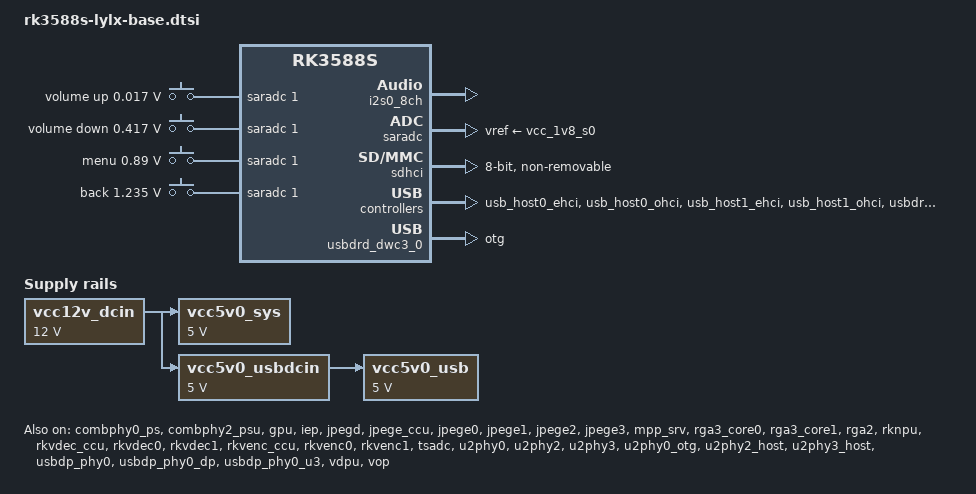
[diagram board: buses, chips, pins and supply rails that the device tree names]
// SPDX-License-Identifier: (GPL-2.0+ OR MIT)
/*
 * Copyright (c) 2021 Rockchip Electronics Co., Ltd.
 *
 */

#include <dt-bindings/gpio/gpio.h>
#include <dt-bindings/pwm/pwm.h>
#include <dt-bindings/pinctrl/rockchip.h>
#include <dt-bindings/input/rk-input.h>
#include <dt-bindings/display/drm_mipi_dsi.h>
#include <dt-bindings/display/rockchip_vop.h>
#include <dt-bindings/sensor-dev.h>

/ {
	adc_keys: adc-keys {
		compatible = "adc-keys";
		io-channels = <&saradc 1>;
		io-channel-names = "buttons";
		keyup-threshold-microvolt = <1800000>;
		poll-interval = <100>;

		vol-up-key {
			label = "volume up";
			linux,code = <KEY_VOLUMEUP>;
			press-threshold-microvolt = <17000>;
		};

		vol-down-key {
			label = "volume down";
			linux,code = <KEY_VOLUMEDOWN>;
			press-threshold-microvolt = <417000>;
		};

		menu-key {
			label = "menu";
			linux,code = <KEY_MENU>;
			press-threshold-microvolt = <890000>;
		};

		back-key {
			label = "back";
			linux,code = <KEY_BACK>;
			press-threshold-microvolt = <1235000>;
		};
	};
	
	hdmi0_sound: hdmi0-sound {
		status = "disabled";
		compatible = "simple-audio-card";
		simple-audio-card,format = "i2s";
		simple-audio-card,mclk-fs = <128>;
		simple-audio-card,name = "rockchip,hdmi0";

		simple-audio-card,cpu {
			sound-dai = <&i2s5_8ch>;
		};
		simple-audio-card,codec {
			sound-dai = <&hdmi0>;
		};
	};

	spdif_tx1_dc: spdif-tx1-dc {
		status = "disabled";
		compatible = "linux,spdif-dit";
		#sound-dai-cells = <0>;
	};

	spdif_tx1_sound: spdif-tx1-sound {
		status = "disabled";
		compatible = "simple-audio-card";
		simple-audio-card,name = "rockchip,spdif-tx1";
		simple-audio-card,cpu {
			sound-dai = <&spdif_tx1>;
		};
		simple-audio-card,codec {
			sound-dai = <&spdif_tx1_dc>;
		};
	};

	test-power {
		status = "okay";
	};

	vcc12v_dcin: vcc12v-dcin {
		compatible = "regulator-fixed";
		regulator-name = "vcc12v_dcin";
		regulator-always-on;
		regulator-boot-on;
		regulator-min-microvolt = <12000000>;
		regulator-max-microvolt = <12000000>;
	};

	vcc5v0_sys: vcc5v0-sys {
		compatible = "regulator-fixed";
		regulator-name = "vcc5v0_sys";
		regulator-always-on;
		regulator-boot-on;
		regulator-min-microvolt = <5000000>;
		regulator-max-microvolt = <5000000>;
		vin-supply = <&vcc12v_dcin>;
	};

	vcc5v0_usbdcin: vcc5v0-usbdcin {
		compatible = "regulator-fixed";
		regulator-name = "vcc5v0_usbdcin";
		regulator-always-on;
		regulator-boot-on;
		regulator-min-microvolt = <5000000>;
		regulator-max-microvolt = <5000000>;
		vin-supply = <&vcc12v_dcin>;
	};

	vcc5v0_usb: vcc5v0-usb {
		compatible = "regulator-fixed";
		regulator-name = "vcc5v0_usb";
		regulator-always-on;
		regulator-boot-on;
		regulator-min-microvolt = <5000000>;
		regulator-max-microvolt = <5000000>;
		vin-supply = <&vcc5v0_usbdcin>;
	};

	wireless_bluetooth: wireless-bluetooth {
                compatible = "bluetooth-platdata";
                clocks = <&hym8563>;
                clock-names = "ext_clock";
                //uart_rts_gpios = <&gpio3 RK_PA4 GPIO_ACTIVE_LOW>;
                //pinctrl-names = "default", "rts_gpio";
                //pinctrl-0 = <&uart8m1_rtsn>, <&bt_reset_gpio>, <&bt_wake_gpio>, <&bt_wake_host_irq>;
                //pinctrl-1 = <&uart8_gpios>;
                //BT,reset_gpio    = <&gpio3 RK_PB7 GPIO_ACTIVE_HIGH>;
                //BT,wake_gpio     = <&gpio3 RK_PC1 GPIO_ACTIVE_HIGH>;
                //BT,wake_host_irq = <&gpio3 RK_PC0 GPIO_ACTIVE_HIGH>;
                status = "okay";

				pinctrl-names = "default";
        		pinctrl-0 = <&nfc_gpio>;
        };
	wireless_wlan: wireless-wlan {
		compatible = "wlan-platdata";
                wifi_chip_type = "rtl8852be";
		// pinctrl-names = "default";
        //         pinctrl-0 = <&wifi_host_wake_irq>/*, <&wifi_poweren_gpio>*/;
		// WIFI,host_wake_irq = <&gpio0 RK_PA0 GPIO_ACTIVE_HIGH>;
                //WIFI,poweren_gpio = <&gpio0 RK_PC7 GPIO_ACTIVE_HIGH>;
		status = "okay";
    };
};

&combphy0_ps {
	status = "okay";
};

&combphy2_psu {
	status = "okay";
};

&cpu_l0 {
	cpu-supply = <&vdd_cpu_lit_s0>;
	mem-supply = <&vdd_cpu_lit_mem_s0>;
};

&cpu_b0 {
	cpu-supply = <&vdd_cpu_big0_s0>;
	mem-supply = <&vdd_cpu_big0_mem_s0>;
};

&cpu_b2 {
	cpu-supply = <&vdd_cpu_big1_s0>;
	mem-supply = <&vdd_cpu_big1_mem_s0>;
};

&gpu {
	mali-supply = <&vdd_gpu_s0>;
	mem-supply = <&vdd_gpu_mem_s0>;
	status = "okay";
};

&i2s0_8ch {
	status = "okay";
	pinctrl-0 = <&i2s0_lrck
		     &i2s0_sclk
		     &i2s0_sdi0
		     &i2s0_sdo0>;
};

&iep {
	status = "okay";
};

&iep_mmu {
	status = "okay";
};

&jpegd {
	status = "okay";
};

&jpegd_mmu {
	status = "okay";
};

&jpege_ccu {
	status = "okay";
};

&jpege0 {
	status = "okay";
};

&jpege0_mmu {
	status = "okay";
};

&jpege1 {
	status = "okay";
};

&jpege1_mmu {
	status = "okay";
};

&jpege2 {
	status = "okay";
};

&jpege2_mmu {
	status = "okay";
};

&jpege3 {
	status = "okay";
};

&jpege3_mmu {
	status = "okay";
};

&mpp_srv {
	status = "okay";
};

&rga3_core0 {
	status = "okay";
};

&rga3_0_mmu {
	status = "okay";
};

&rga3_core1 {
	status = "okay";
};

&rga3_1_mmu {
	status = "okay";
};

&rga2 {
	status = "okay";
};

&rknpu {
	rknpu-supply = <&vdd_npu_s0>;
	mem-supply = <&vdd_npu_mem_s0>;
	status = "okay";
};

&rknpu_mmu {
	status = "okay";
};

&rkvdec_ccu {
	status = "okay";
};

&rkvdec0 {
	status = "okay";
};

&rkvdec0_mmu {
	status = "okay";
};

&rkvdec1 {
	status = "okay";
};

&rkvdec1_mmu {
	status = "okay";
};

&rkvenc_ccu {
	status = "okay";
};

&rkvenc0 {
	status = "okay";
};

&rkvenc0_mmu {
	status = "okay";
};

&rkvenc1 {
	status = "okay";
};

&rkvenc1_mmu {
	status = "okay";
};

&rockchip_suspend {
	status = "okay";
	rockchip,sleep-debug-en = <1>;
};

&saradc {
	status = "okay";
	vref-supply = <&vcc_1v8_s0>;
};

&sdhci {
	bus-width = <8>;
	no-sdio;
	no-sd;
	non-removable;
	max-frequency = <200000000>;
	mmc-hs400-1_8v;
	mmc-hs400-enhanced-strobe;
	status = "okay";
};

&sdmmc {
	max-frequency = <150000000>;
	no-sdio;
	no-mmc;
	bus-width = <4>;
	cap-mmc-highspeed;
	cap-sd-highspeed;
	disable-wp;
	sd-uhs-sdr104;
	vmmc-supply = <&vcc_3v3_sd_s0>;
	vqmmc-supply = <&vccio_sd_s0>;
	status = "disabled";
};

&tsadc {
	status = "okay";
};

&u2phy0 {
	status = "okay";
};

&u2phy2 {
	status = "okay";
};

&u2phy3 {
	status = "okay";
};

&u2phy0_otg {
	status = "okay";
};

&u2phy2_host {
	status = "okay";
};

&u2phy3_host {
	status = "okay";
};

&usb_host0_ehci {
	status = "okay";
};

&usb_host0_ohci {
	status = "okay";
};

&usb_host1_ehci {
	status = "okay";
};

&usb_host1_ohci {
	status = "okay";
};

&usbdp_phy0 {
	status = "okay";
};

&usbdp_phy0_dp {
	status = "okay";
};

&usbdp_phy0_u3 {
	status = "okay";
};

&usbdrd3_0 {
	status = "okay";
};

&usbdrd_dwc3_0 {
	dr_mode = "otg";
	status = "okay";
};

&usbhost3_0 {
	status = "okay";
};

&usbhost_dwc3_0 {
	status = "okay";
};

&vdpu {
	status = "okay";
};

&vdpu_mmu {
	status = "okay";
};

&vop {
	status = "okay";
};

&vop_mmu {
	status = "okay";
};

/* vp0 & vp1 splice for 8K output */
&vp0 {
	rockchip,plane-mask = <(1 << ROCKCHIP_VOP2_CLUSTER0 | 1 << ROCKCHIP_VOP2_ESMART0)>;
	rockchip,primary-plane = <ROCKCHIP_VOP2_ESMART0>;
};

&vp1 {
	rockchip,plane-mask = <(1 << ROCKCHIP_VOP2_CLUSTER1 | 1 << ROCKCHIP_VOP2_ESMART1)>;
	rockchip,primary-plane = <ROCKCHIP_VOP2_ESMART1>;
};

&vp2 {
	rockchip,plane-mask = <(1 << ROCKCHIP_VOP2_CLUSTER2 | 1 << ROCKCHIP_VOP2_ESMART2)>;
	rockchip,primary-plane = <ROCKCHIP_VOP2_ESMART2>;
};

&vp3 {
	rockchip,plane-mask = <(1 << ROCKCHIP_VOP2_CLUSTER3 | 1 << ROCKCHIP_VOP2_ESMART3)>;
	rockchip,primary-plane = <ROCKCHIP_VOP2_ESMART3>;
};
